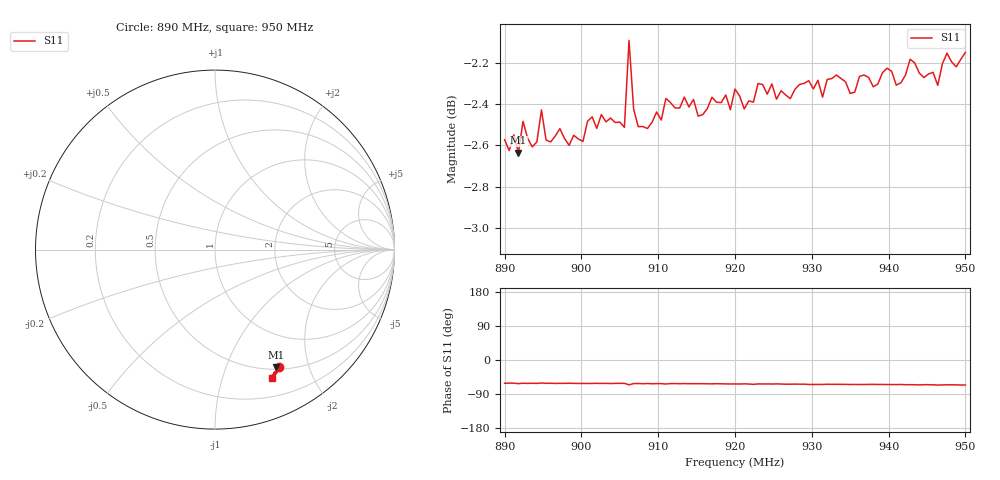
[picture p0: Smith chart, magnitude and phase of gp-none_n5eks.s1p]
# HZ S RI R 50
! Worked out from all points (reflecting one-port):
!   101 points, 890 MHz to 950 MHz, reference 50 ohm
!   lowest |S11| = -2.6 dB at 891.8 MHz (marker M1), VSWR 6.64, Z = 26.4 - j75.9 ohm
!   phase of S11 starts at -61 deg and turns -5 deg over the sweep
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8.9e8  0.3569 -0.6524
8.912e8  0.3607 -0.6527
8.918e8  0.3409 -0.6548
8.924e8  0.3617 -0.6586
8.942e8  0.353 -0.6535
8.948e8  0.3695 -0.6598
8.954e8  0.3536 -0.6541
8.978e8  0.3538 -0.6547
9.05e8  0.3579 -0.6603
9.056e8  0.3563 -0.6587
9.062e8  0.3263 -0.7153
9.068e8  0.3525 -0.6694
9.074e8  0.3509 -0.6619
9.104e8  0.3485 -0.6663
9.11e8  0.3408 -0.6805
9.116e8  0.3532 -0.6722
9.128e8  0.3488 -0.6719
9.2e8  0.345 -0.6829
9.212e8  0.3439 -0.674
9.224e8  0.3307 -0.6837
9.23e8  0.347 -0.6846
9.278e8  0.3403 -0.6851
9.35e8  0.3258 -0.6902
9.416e8  0.3291 -0.6936
9.428e8  0.3264 -0.7062
9.464e8  0.3105 -0.7009
9.476e8  0.325 -0.7098
9.5e8  0.3177 -0.7134
